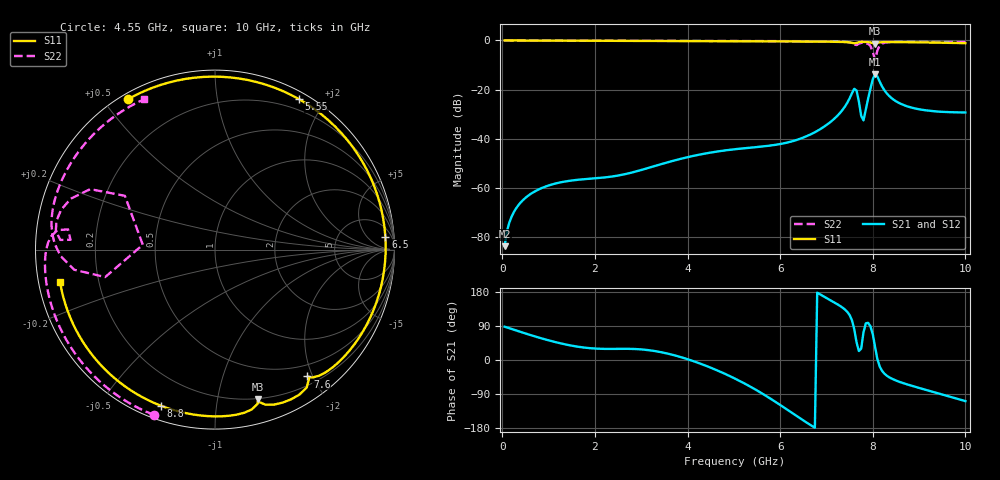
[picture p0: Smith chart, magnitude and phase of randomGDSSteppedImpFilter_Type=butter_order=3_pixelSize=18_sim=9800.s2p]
! freq	dB(S11)	phase(S11)	dB(S12)	phase(S12)
!  dB(S21)	phase(S21)	dB(S22)	phase(S22)
!S-par simulation data
#  GHz  S  DB  R 50
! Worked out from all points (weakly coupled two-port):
!   200 points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, 50 MHz to 10 GHz, reference 50 ohm
!   highest |S21| = -13.72 dB at 8.05 GHz (marker M1); lowest = -83.8 dB at 50 MHz (marker M2)
!   lowest |S11| = -1.3 dB at 8.05 GHz (marker M3), VSWR 13.86, Z = 9.88 - j65.5 ohm
!   |S11| at or under -10 dB: nowhere
!   |S22| runs from -7.9 to 0.0 dB; largest |S21 - S12| = 0
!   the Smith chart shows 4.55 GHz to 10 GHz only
!   S11 on the Smith chart (normalised r, x): 4.55 GHz: 0.02, +0.58; 5.55 GHz: 0.08, +1.70; 6.5 GHz: 12, +18; 7.6 GHz: 0.32, -1.92; 8.8 GHz: 0.06, -0.71; 10 GHz: 0.06, -0.10
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0.05  -0.00 -2.8  -83.76 87.9  -83.76 87.9  -0.00 -1.3
0.25  -0.02 -13.9  -69.86 79.9  -69.86 79.9  -0.01 -6.5
0.55  -0.04 -30.4  -63.33 68.1  -63.33 68.1  -0.02 -14.2
1.15  -0.08 -62.8  -58.24 47.1  -58.24 47.1  -0.04 -29.5
1.75  -0.11 -94.1  -56.51 33.0  -56.51 33.0  -0.06 -44.6
2.65  -0.16 -139.6  -54.44 29.5  -54.44 29.5  -0.09 -66.5
3.4  -0.21 -177.6  -50.53 21.3  -50.53 21.3  -0.11 -84.2
3.95  -0.24 153.4  -47.75 4.1  -47.75 4.1  -0.13 -96.8
4.55  -0.28 120.1  -45.49 -22.7  -45.49 -22.7  -0.16 -110.4
5.05  -0.32 90.9  -44.23 -50.6  -44.23 -50.6  -0.19 -121.6
5.55  -0.35 60.9  -43.30 -83.9  -43.30 -83.9  -0.22 -132.9
6.5  -0.43 4.4  -39.54 -159.5  -39.54 -159.5  -0.30 -155.0
6.7  -0.45 -7.0  -37.85 -175.0  -37.85 -175.0  -0.32 -159.9
7.25  -0.57 -37.1  -30.39 146.1  -30.39 146.1  -0.44 -175.0
7.6  -1.16 -53.9  -19.66 81.4  -19.66 81.4  -1.65 172.2
7.8  -0.58 -63.0  -32.54 73.4  -32.54 73.4  -0.94 169.7
7.95  -0.83 -71.9  -19.58 88.8  -19.58 88.8  -2.24 154.1
8.05  -1.26 -74.0  -13.72 34.3  -13.72 34.3  -7.89 176.2
8.15  -0.78 -77.1  -16.79 -17.3  -16.79 -17.3  -2.02 -171.9
8.35  -0.64 -87.8  -22.52 -45.2  -22.52 -45.2  -0.72 171.5
8.8  -0.72 -109.2  -27.15 -66.6  -27.15 -66.6  -0.57 154.1
10  -1.09 -168.2  -29.34 -108.6  -29.34 -108.6  -0.67 115.1
